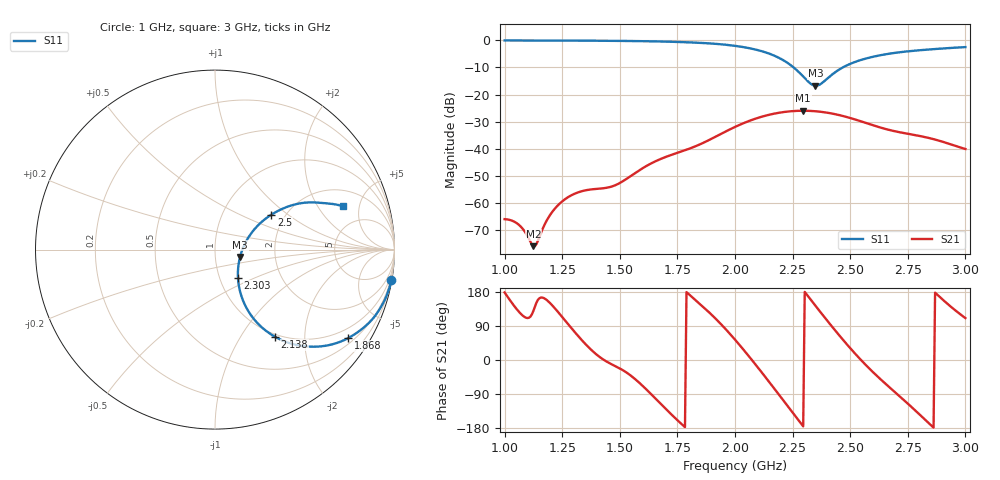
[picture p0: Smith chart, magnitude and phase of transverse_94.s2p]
! TOUCHSTONE file generated by CST MICROWAVE STUDIO
! Date and time: Tue Mar 11 13:56:39 2025
! Project name: transverse.cst
! Parameters = {Fracture=5; B=10; D=160; F=15; Feed=2.85625; L=100; M=30; R=0.384908; S=1; Theta=90; length=57.125; wave=114.25}
! Header version: 2024
! Port assignment regex: !\s*Touchstone port\s*([0-9]+)\s*=\s*(CST MWS port|CST DES external port|CST DES block port)\s*(.+)\s* \(\"(.*)\"\)(\s*mode\s*([0-9]+))?.*
! Touchstone port assignment:
! Touchstone port 1 = CST MWS port 1 ("")
! Touchstone port 2 = CST MWS port 2 ("")
# GHz S MA R 50
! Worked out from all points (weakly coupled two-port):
!   305 points, 1 GHz to 3 GHz, reference 50 ohm
!   highest |S21| = -25.96 dB at 2.296 GHz (marker M1); lowest = -76.0 dB at 1.125 GHz (marker M2)
!   lowest |S11| = -16.7 dB at 2.349 GHz (marker M3), VSWR 1.34, Z = 65.9 - j5.63 ohm
!   |S11| at or under -10 dB: 2.255 GHz to 2.467 GHz (212.8 MHz wide, 9.01 % of centre)
!   S12 and S22 are empty: the file has one direction only
!   S11 on the Smith chart (normalised r, x): 1 GHz: 0, -12; 1.868 GHz: 0.66, -3.19; 2.138 GHz: 0.96, -1.43; 2.303 GHz: 1.22, -0.40; 2.5 GHz: 1.70, +0.76; 3 GHz: 3.08, +3.43
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1  0.9975 -9.8  0.0005024 178.2  0 0.0  0 0.0
1.06579  0.9968 -10.6  0.0003815 124.8  0 0.0  0 0.0
1.125  0.996 -11.5  0.0001593 129.7  0 0.0  0 0.0
1.13816  0.9957 -11.7  0.0001742 151.4  0 0.0  0 0.0
1.17763  0.9948 -12.3  0.0004312 160.7  0 0.0  0 0.0
1.22368  0.9934 -13.1  0.0008369 132.6  0 0.0  0 0.0
1.27632  0.9916 -14.0  0.001286 94.1  0 0.0  0 0.0
1.33553  0.9896 -15.1  0.00165 52.1  0 0.0  0 0.0
1.48026  0.9805 -18.4  0.002123 -16.1  0 0.0  0 0.0
1.67105  0.9563 -24.3  0.006314 -111.7  0 0.0  0 0.0
1.86842  0.8916 -33.5  0.01323 136.6  0 0.0  0 0.0
2  0.7933 -42.9  0.02529 53.8  0 0.0  0 0.0
2.13816  0.5906 -55.4  0.04142 -50.0  0 0.0  0 0.0
2.22368  0.3956 -61.5  0.04834 -117.6  0 0.0  0 0.0
2.29605  0.2156 -53.2  0.05033 -175.1  0 0.0  0 0.0
2.30263  0.2016 -50.6  0.05032 179.7  0 0.0  0 0.0
2.33553  0.1516 -28.9  0.04972 153.8  0 0.0  0 0.0
2.34868  0.1455 -16.7  0.04926 143.6  0 0.0  0 0.0
2.5  0.369 31.8  0.03698 31.3  0 0.0  0 0.0
2.67105  0.5699 27.4  0.02216 -72.3  0 0.0  0 0.0
2.84868  0.683 22.1  0.01555 -171.0  0 0.0  0 0.0
3  0.7523 18.7  0.00991 110.6  0 0.0  0 0.0
